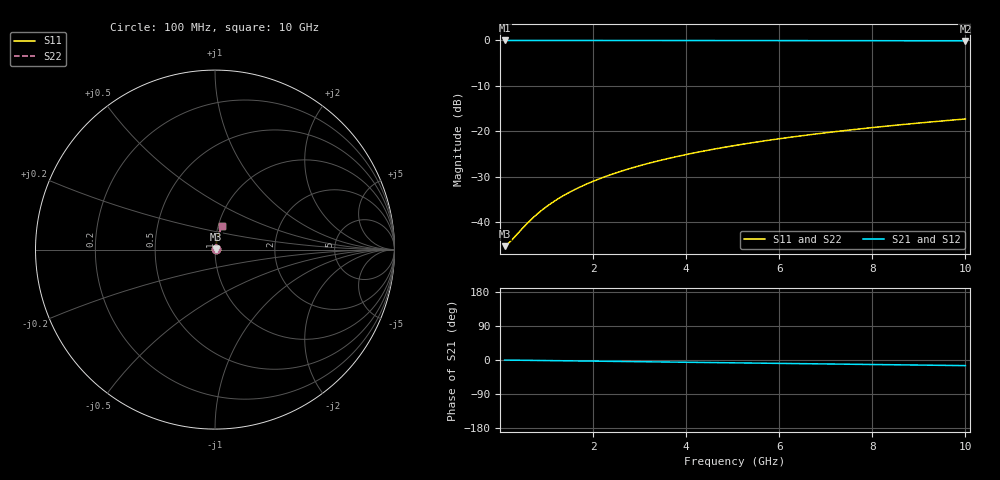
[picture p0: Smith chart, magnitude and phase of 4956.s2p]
# Hz S RI R 50.00
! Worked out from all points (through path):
!   100 points, 100 MHz to 10 GHz, reference 50 ohm
!   highest |S21| = -0.05 dB at 100 MHz (marker M1); lowest = -0.1 dB at 10 GHz (marker M2)
!   group delay of S21, straight-line fit = 4.12 ps
!   lowest |S11| = -45.2 dB at 100 MHz (marker M3), VSWR 1.01, Z = 50.5 + j0.138 ohm
!   |S11| at or under -10 dB: start of sweep to end of sweep
!   |S22| runs from -45.2 to -17.3 dB; largest |S21 - S12| = 0
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1e8  0.0053 0.00137  0.9947 -0.00258  0.9947 -0.00258  0.0053 0.00137
2e8  0.00534 0.00274  0.9947 -0.00516  0.9947 -0.00516  0.00534 0.00274
6e8  0.00553 0.00822  0.9944 -0.0155  0.9944 -0.0155  0.00553 0.00822
7e8  0.00559 0.00959  0.9944 -0.0181  0.9944 -0.0181  0.00559 0.00959
9e8  0.00573 0.0123  0.9942 -0.0232  0.9942 -0.0232  0.00573 0.0123
1.1e9  0.00589 0.0151  0.994 -0.0284  0.994 -0.0284  0.00589 0.0151
1.3e9  0.00608 0.0178  0.9938 -0.0336  0.9938 -0.0336  0.00608 0.0178
1.5e9  0.0063 0.0205  0.9935 -0.0387  0.9935 -0.0387  0.0063 0.0205
1.8e9  0.00667 0.0246  0.9931 -0.0464  0.9931 -0.0464  0.00667 0.0246
2.1e9  0.00711 0.0287  0.9925 -0.0542  0.9925 -0.0542  0.00711 0.0287
2.5e9  0.00779 0.0341  0.9917 -0.0645  0.9917 -0.0645  0.00779 0.0341
2.9e9  0.00858 0.0395  0.9908 -0.0747  0.9908 -0.0747  0.00858 0.0395
3.4e9  0.00972 0.0463  0.9894 -0.0875  0.9894 -0.0875  0.00972 0.0463
3.8e9  0.0108 0.0517  0.9881 -0.0978  0.9881 -0.0978  0.0108 0.0517
4.2e9  0.0119 0.057  0.9867 -0.108  0.9867 -0.108  0.0119 0.057
4.6e9  0.0132 0.0623  0.9852 -0.1182  0.9852 -0.1182  0.0132 0.0623
5.1e9  0.0149 0.0689  0.9831 -0.1309  0.9831 -0.1309  0.0149 0.0689
5.9e9  0.018 0.0794  0.9794 -0.1511  0.9794 -0.1511  0.018 0.0794
6.7e9  0.0215 0.0897  0.9751 -0.1712  0.9751 -0.1712  0.0215 0.0897
7.5e9  0.0255 0.0999  0.9702 -0.1911  0.9702 -0.1911  0.0255 0.0999
8.4e9  0.0304 0.1111  0.9642 -0.2133  0.9642 -0.2133  0.0304 0.1111
1e10  0.0405 0.1303  0.9519 -0.2521  0.9519 -0.2521  0.0405 0.1303
